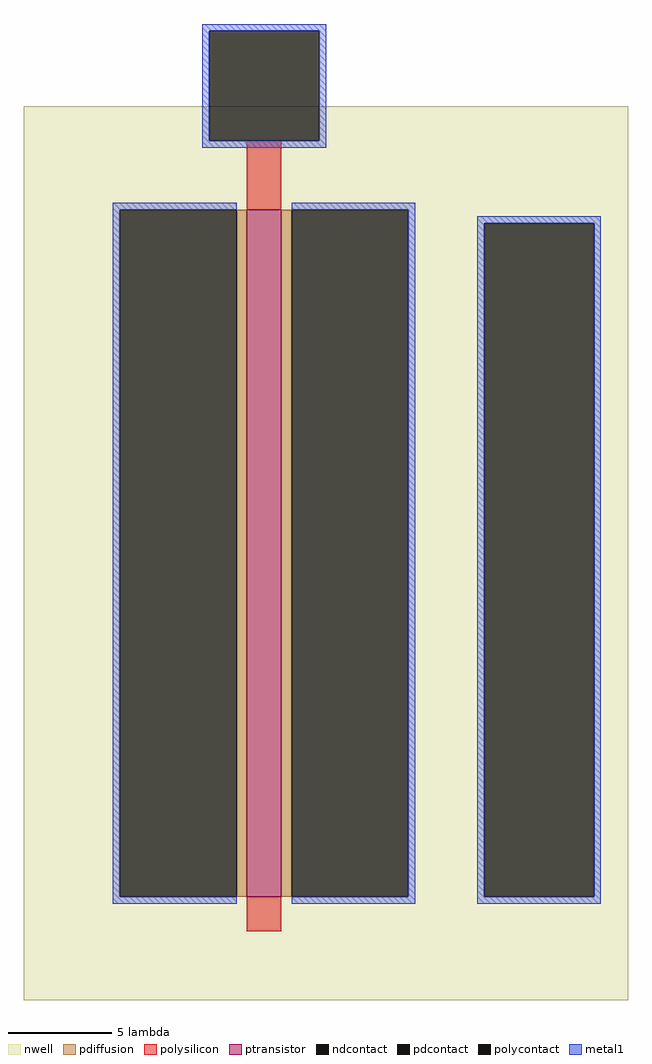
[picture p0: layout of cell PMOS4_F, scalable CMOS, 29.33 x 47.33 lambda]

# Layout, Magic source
magic
tech scmos
magscale 1 6
<< nwell >>
rect 0 0 176 260
<< ptransistor >>
rect 65 30 75 230
<< pdiffusion >>
rect 62 30 65 230
rect 75 30 78 230
<< ndcontact >>
rect 134 30 166 226
<< pdcontact >>
rect 28 30 62 230
rect 78 30 112 230
<< polysilicon >>
rect 65 230 75 250
rect 65 20 75 30
<< polycontact >>
rect 54 250 86 282
<< metal1 >>
rect 52 282 88 284
rect 52 250 54 282
rect 86 250 88 282
rect 52 248 88 250
rect 26 230 62 232
rect 26 30 28 230
rect 26 28 62 30
rect 78 230 114 232
rect 112 30 114 230
rect 78 28 114 30
rect 132 226 168 228
rect 132 30 134 226
rect 166 30 168 226
rect 132 28 168 30
<< end >>
